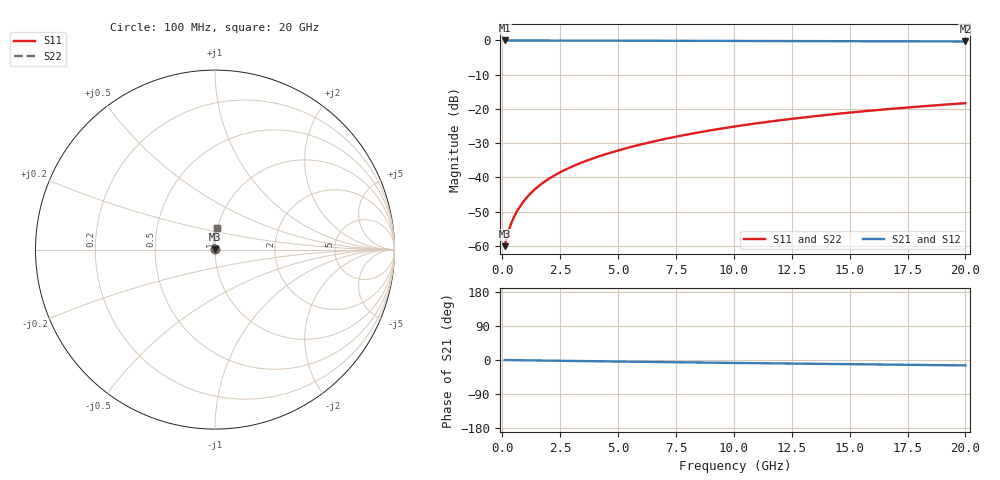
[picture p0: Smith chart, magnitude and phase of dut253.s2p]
! Touchstone file exported from HFSS 2024.1.0
!  File:  C:/UserFiles/LocalFiles/RDL_TSV_Batchsim/temp_RDL_top_253_1778688990.aedt
!  Generated:  12:18:36 AM May 14, 2026
!  Design:  RDL_top
!  Project:  temp_RDL_top_253_1778688990
!  Setup:  Setup1
!  Solution:  Sweep
! Variables:
!  dtsv = 10.80580581um
!  hbump = 3um
!  htsv = 69.82um
!  ldown = 100um
!  lrdl = 216.83um
!  p = 40
!  p1 = 40.91um
!  rhole = 1um
!  t = 450um
!  tdown = 3.915915916um
!  trdl = 4.92um
!  wdown = 15.38538539um
!  wrdl = 24.46um
# GHz S MA R 50.000000
! Terminal data exported
! Port[1] = Box2_T1
! Port[2] = Box2_T2
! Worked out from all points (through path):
!   200 points, 100 MHz to 20 GHz, reference 50 ohm
!   highest |S21| = -0.01 dB at 100 MHz (marker M1); lowest = -0.3 dB at 20 GHz (marker M2)
!   group delay of S21, straight-line fit = 1.96 ps
!   lowest |S11| = -60.1 dB at 100 MHz (marker M3), VSWR 1.00, Z = 50.1 + j0.0561 ohm
!   |S11| at or under -10 dB: start of sweep to end of sweep
!   |S22| runs from -60.1 to -18.3 dB; largest |S21 - S12| = 4e-15
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0.1  0.000989 34.5  0.9992 -0.1  0.9992 -0.1  0.000989 34.5
! Gamma 0 0 0 0
! Port Impedance 50 0 50 0
0.2  0.001376 50.2  0.9991 -0.2  0.9991 -0.2  0.001376 50.2
0.3  0.001779 58.7  0.999 -0.3  0.999 -0.3  0.001779 58.7
0.4  0.002189 64.3  0.999 -0.3  0.999 -0.3  0.002189 64.3
0.5  0.00261 68.5  0.9989 -0.4  0.9989 -0.4  0.00261 68.5
0.6  0.00304 71.6  0.9988 -0.5  0.9988 -0.5  0.00304 71.6
0.8  0.003922 76.1  0.9987 -0.7  0.9987 -0.7  0.003922 76.1
1.1  0.005278 80.2  0.9985 -0.9  0.9985 -0.9  0.005278 80.2
1.3  0.006196 82.0  0.9984 -1.1  0.9984 -1.1  0.006196 82.0
1.6  0.007589 84.1  0.9981 -1.4  0.9981 -1.4  0.007589 84.1
2.1  0.009945 86.4  0.9975 -1.8  0.9975 -1.8  0.009945 86.4
2.7  0.01283 88.4  0.9967 -2.3  0.9967 -2.3  0.01283 88.4
3.5  0.0168 90.2  0.9954 -2.9  0.9954 -2.9  0.0168 90.2
4.2  0.02041 91.4  0.9941 -3.5  0.9941 -3.5  0.02041 91.4
5  0.02471 92.3  0.9925 -4.1  0.9925 -4.1  0.02471 92.3
6.8  0.03504 93.3  0.9887 -5.4  0.9887 -5.4  0.03504 93.3
8.4  0.04487 93.2  0.9852 -6.6  0.9852 -6.6  0.04487 93.2
10.1  0.05577 92.4  0.9818 -7.8  0.9818 -7.8  0.05577 92.4
11.7  0.06629 91.4  0.9787 -8.8  0.9787 -8.8  0.06629 91.4
13.4  0.07759 90.0  0.9756 -10.0  0.9756 -10.0  0.07759 90.0
16.7  0.09957 87.1  0.9701 -12.2  0.9701 -12.2  0.09958 87.1
20  0.1213 84.2  0.9649 -14.3  0.9649 -14.3  0.1213 84.2
